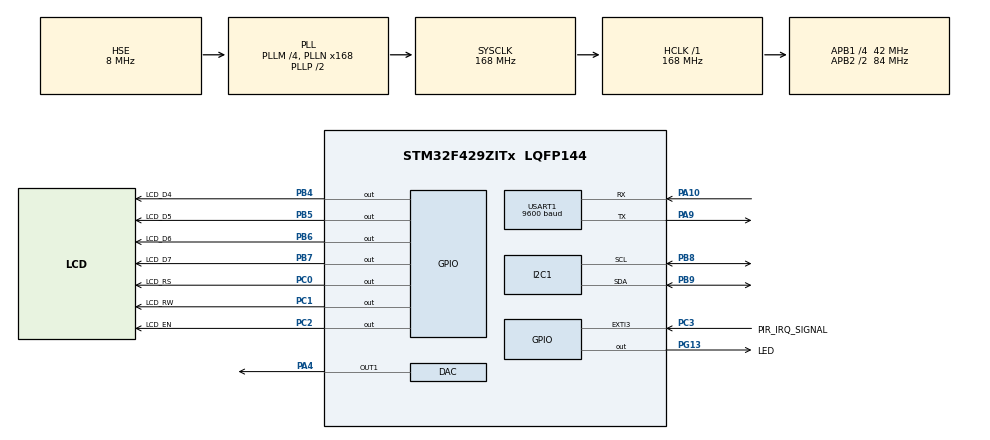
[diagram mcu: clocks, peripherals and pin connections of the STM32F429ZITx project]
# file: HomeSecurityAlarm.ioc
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DAC.DAC_Trigger=DAC_TRIGGER_T2_TRGO
Dma.DAC1.0.Direction=DMA_MEMORY_TO_PERIPH
Dma.DAC1.0.FIFOMode=DMA_FIFOMODE_DISABLE
Dma.DAC1.0.Instance=DMA1_Stream5
Dma.DAC1.0.MemDataAlignment=DMA_MDATAALIGN_HALFWORD
Dma.DAC1.0.MemInc=DMA_MINC_ENABLE
Dma.DAC1.0.Mode=DMA_CIRCULAR
Dma.DAC1.0.PeriphDataAlignment=DMA_PDATAALIGN_HALFWORD
Dma.DAC1.0.PeriphInc=DMA_PINC_DISABLE
Dma.DAC1.0.Priority=DMA_PRIORITY_LOW
Dma.Request0=DAC1
Dma.Request1=USART1_RX
Dma.USART1_RX.1.Direction=DMA_PERIPH_TO_MEMORY
Dma.USART1_RX.1.FIFOMode=DMA_FIFOMODE_DISABLE
Dma.USART1_RX.1.Instance=DMA2_Stream2
Dma.USART1_RX.1.MemDataAlignment=DMA_MDATAALIGN_BYTE
Dma.USART1_RX.1.MemInc=DMA_MINC_ENABLE
Dma.USART1_RX.1.Mode=DMA_CIRCULAR
Dma.USART1_RX.1.PeriphDataAlignment=DMA_PDATAALIGN_BYTE
Dma.USART1_RX.1.PeriphInc=DMA_PINC_DISABLE
Dma.USART1_RX.1.Priority=DMA_PRIORITY_LOW
Mcu.Family=STM32F4
Mcu.Name=STM32F429ZITx
Mcu.Package=LQFP144
NVIC.DMA1_Stream5_IRQn=true\:0\:0\:false\:false\:true\:false\:true\:true
NVIC.DMA2_Stream2_IRQn=true\:0\:0\:false\:false\:true\:false\:true\:true
NVIC.EXTI3_IRQn=true\:0\:0\:false\:false\:true\:true\:true\:true
NVIC.PriorityGroup=NVIC_PRIORITYGROUP_4
NVIC.TIM1_UP_TIM10_IRQn=true\:0\:0\:false\:false\:true\:true\:true\:true
PA10.Mode=Asynchronous
PA10.Signal=USART1_RX
PA13.Mode=Serial_Wire
PA13.Signal=SYS_JTMS-SWDIO
PA14.Mode=Serial_Wire
PA14.Signal=SYS_JTCK-SWCLK
PA4.Signal=COMP_DAC1_group
PA9.Mode=Asynchronous
PA9.Signal=USART1_TX
PB4.GPIO_Label=LCD_D4
PB4.Signal=GPIO_Output
PB5.GPIO_Label=LCD_D5
PB5.Signal=GPIO_Output
PB6.GPIO_Label=LCD_D6
PB6.Signal=GPIO_Output
PB7.GPIO_Label=LCD_D7
PB7.Signal=GPIO_Output
PB8.Mode=I2C
PB8.Signal=I2C1_SCL
PB9.Mode=I2C
PB9.Signal=I2C1_SDA
PC0.GPIO_Label=LCD_RS
PC0.Signal=GPIO_Output
PC1.GPIO_Label=LCD_RW
PC1.Signal=GPIO_Output
PC2.GPIO_Label=LCD_EN
PC2.Signal=GPIO_Output
PC3.GPIO_Label=PIR_IRQ_SIGNAL
PC3.GPIO_ModeDefaultEXTI=GPIO_MODE_IT_RISING
PC3.GPIO_PuPd=GPIO_PULLDOWN
PC3.Signal=GPXTI3
PG13.GPIO_Label=LED
PG13.Signal=GPIO_Output
PH0/OSC_IN.Mode=HSE-External-Oscillator
PH0/OSC_IN.Signal=RCC_OSC_IN
PH1/OSC_OUT.Mode=HSE-External-Oscillator
PH1/OSC_OUT.Signal=RCC_OSC_OUT
ProjectManager.HeapSize=0x200
ProjectManager.StackSize=0x400
ProjectManager.TargetToolchain=MDK-ARM V5.32
RCC.48MHZClocksFreq_Value=84000000
RCC.AHBFreq_Value=168000000
RCC.APB1CLKDivider=RCC_HCLK_DIV4
RCC.APB1Freq_Value=42000000
RCC.APB1TimFreq_Value=84000000
RCC.APB2CLKDivider=RCC_HCLK_DIV2
RCC.APB2Freq_Value=84000000
RCC.APB2TimFreq_Value=168000000
RCC.CortexFreq_Value=168000000
RCC.HCLKFreq_Value=168000000
RCC.HSE_VALUE=8000000
RCC.HSI_VALUE=16000000
RCC.LSE_VALUE=32768
RCC.PLLM=4
RCC.PLLN=168
RCC.PLLSourceVirtual=RCC_PLLSOURCE_HSE
RCC.SYSCLKFreq_VALUE=168000000
RCC.SYSCLKSource=RCC_SYSCLKSOURCE_PLLCLK
RCC.VCOOutputFreq_Value=336000000
SH.COMP_DAC1_group.0=DAC_OUT1,DAC_OUT1
TIM1.Period=1000-1
TIM1.Prescaler=168-1
TIM2.Period=125-1
TIM2.Prescaler=84-1
TIM2.TIM_MasterOutputTrigger=TIM_TRGO_UPDATE
USART1.BaudRate=9600
USART1.VirtualMode=VM_ASYNC
VP_TIM1_VS_ClockSourceINT.Mode=Internal
VP_TIM2_VS_ClockSourceINT.Mode=Internal
board=custom

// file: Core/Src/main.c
/* USER CODE BEGIN Header */
/**
  ******************************************************************************
  * @file           : main.c
  * @brief          : Main program body
  ******************************************************************************
  * @attention
  *
  * Copyright (c) 2024 STMicroelectronics.
  * All rights reserved.
  *
  * This software is licensed under terms that can be found in the LICENSE file
  * in the root directory of this software component.
  * If no LICENSE file comes with this software, it is provided AS-IS.
  *
  ******************************************************************************
  */
/* USER CODE END Header */
#include "main.h"
#include "dac.h"
#include "dma.h"
#include "i2c.h"
#include "tim.h"
#include "usart.h"
#include "gpio.h"

/* USER CODE BEGIN Includes */

#include <stdio.h>

#include "LCD/lcd.h"
#include "DS3231/ds3231.h"
#include "Audio/alarm.h"
#include "DAC/DAC_LIB.h"
#include "RingBuffer/RingBuffer.h"
#include "CheckSum/CheckSum.h"
#include "GSM/gsm.h"
#include "EEPROM/eeprom.h"
#include "MyHalFlash/MyHalFlash.h"

/* USER CODE END Includes */

/* USER CODE BEGIN PTD */

typedef enum
{
	INIT_MENU,
	HOME_MENU
}menu_t;

menu_t menu = INIT_MENU;

/* USER CODE END PTD */

/* USER CODE BEGIN PV */

uint32_t lastTime;
uint16_t cnt_led = 0;

uint8_t FLAG_BLINK_ALARM = 0;
uint8_t cnt_blink_alarm = 0;

/* USER CODE END PV */

void SystemClock_Config(void);
/* USER CODE BEGIN PFP */

void Init_Menu_Func(void);
void Home_Menu_Func(void);

/* USER CODE END PFP */

int main(void)
{

  /* MCU Configuration--------------------------------------------------------*/

  /* Reset of all peripherals, Initializes the Flash interface and the Systick. */
  HAL_Init();

  /* Configure the system clock */
  SystemClock_Config();

  /* Initialize all configured peripherals */
  MX_GPIO_Init();
  MX_DMA_Init();
  MX_DAC_Init();
  MX_USART1_UART_Init();
  MX_I2C1_Init();
  MX_TIM2_Init();
  MX_TIM1_Init();
  /* USER CODE BEGIN 2 */

//	HAL_SuspendTick();
//	HAL_PWR_EnterSLEEPMode(PWR_MAINREGULATOR_ON, PWR_SLEEPENTRY_WFI);
//	HAL_ResumeTick();

//	HAL_SuspendTick();
//	HAL_PWR_EnterSTOPMode(PWR_LOWPOWERREGULATOR_ON, PWR_SLEEPENTRY_WFI);
//	SystemClock_Config();
//	HAL_ResumeTick();

  /* USER CODE END 2 */

  /* Infinite loop */
  /* USER CODE BEGIN WHILE */
  while (1)
  {
		switch(menu)
		{
			case INIT_MENU:
			{
				Init_Menu_Func();
			}break;
			case HOME_MENU:
			{
				Home_Menu_Func();
			}break;
		}

    /* USER CODE END WHILE */

  }
}

void SystemClock_Config(void)
{
  RCC_OscInitTypeDef RCC_OscInitStruct = {0};
  RCC_ClkInitTypeDef RCC_ClkInitStruct = {0};

  /** Configure the main internal regulator output voltage
  */
  __HAL_RCC_PWR_CLK_ENABLE();
  __HAL_PWR_VOLTAGESCALING_CONFIG(PWR_REGULATOR_VOLTAGE_SCALE1);

  /** Initializes the RCC Oscillators according to the specified parameters
  * in the RCC_OscInitTypeDef structure.
  */
  RCC_OscInitStruct.OscillatorType = RCC_OSCILLATORTYPE_HSE;
  RCC_OscInitStruct.HSEState = RCC_HSE_ON;
  RCC_OscInitStruct.PLL.PLLState = RCC_PLL_ON;
  RCC_OscInitStruct.PLL.PLLSource = RCC_PLLSOURCE_HSE;
  RCC_OscInitStruct.PLL.PLLM = 4;
  RCC_OscInitStruct.PLL.PLLN = 168;
  RCC_OscInitStruct.PLL.PLLP = RCC_PLLP_DIV2;
  RCC_OscInitStruct.PLL.PLLQ = 4;
  if (HAL_RCC_OscConfig(&RCC_OscInitStruct) != HAL_OK)
  {
    Error_Handler();
  }

  /** Initializes the CPU, AHB and APB buses clocks
  */
  RCC_ClkInitStruct.ClockType = RCC_CLOCKTYPE_HCLK|RCC_CLOCKTYPE_SYSCLK
                              |RCC_CLOCKTYPE_PCLK1|RCC_CLOCKTYPE_PCLK2;
  RCC_ClkInitStruct.SYSCLKSource = RCC_SYSCLKSOURCE_PLLCLK;
  RCC_ClkInitStruct.AHBCLKDivider = RCC_SYSCLK_DIV1;
  RCC_ClkInitStruct.APB1CLKDivider = RCC_HCLK_DIV4;
  RCC_ClkInitStruct.APB2CLKDivider = RCC_HCLK_DIV2;

  if (HAL_RCC_ClockConfig(&RCC_ClkInitStruct, FLASH_LATENCY_5) != HAL_OK)
  {
    Error_Handler();
  }
}

/* USER CODE BEGIN 4 */

void HAL_TIM_PeriodElapsedCallback(TIM_HandleTypeDef *htim)
{
	if(htim == &htim1) // 1 ms
	{
		if(gsmState == GSM_State_10)
		{
			cnt_send_sms++;
			if(cnt_send_sms >= 4000)  // 4000 * 1ms = 4000 ms = 4s
			{
				cnt_send_sms = 0;
				FLAG_SEND_SMS = 1;
			}
		}

		if(gsmState == GSM_State_11)
		{
			cnt_call_alarm++;
			if(cnt_call_alarm >= 10000)  // 4000 * 1ms = 4000 ms = 4s
			{
				cnt_call_alarm = 0;
				FLAG_CALL_ALARM = 1;
			}
		}

		if(FLAG_ALARM_MENU == 1 || FLAG_ALARM_MENU == 2)
		{
			cnt_blink_alarm++;
			if(cnt_blink_alarm >= 200)  // 200 * 1ms = 200 ms
			{
				cnt_blink_alarm = 0;
				if(FLAG_BLINK_ALARM == 0)
					FLAG_BLINK_ALARM = 1;
				else
					FLAG_BLINK_ALARM = 0;
			}
		}
	}
}

void HAL_GPIO_EXTI_Callback(uint16_t GPIO_Pin)
{
	if(gsmState == GSM_State_8 && FLAG_STATUS_ALARM == 1)
	{
		if(GPIO_Pin == PIR_IRQ_SIGNAL_Pin)
		{
				FLAG_PIR_SENSOR = 1;
				HAL_GPIO_WritePin(LED_GPIO_Port, LED_Pin, GPIO_PIN_SET);
		}
	}
}

void Init_Menu_Func(void)
{
	uint32_t count = 0;

	lcd_init();
	lcd_clear();
	lcd_gotoxy(0, 0);
	lcd_puts("  Diba Digital  ");
	lcd_gotoxy(0, 1);
	lcd_puts(" Security Alarm ");
	HAL_Delay(2000);

	HAL_TIM_Base_Start_IT(&htim1); //timer of system

	RingBuff_Init(&rxBuf);
	HAL_UART_Receive_DMA(&huart1, rxBuf.Buffer, rxBuf.Size);

	Index_Max_Alarm = (uint32_t)(alarm_LEN / 65535);

	MyHalFlash_Init();

	// unlock FLASH for Write
	do{
		if(EE_Init() == HAL_OK)
			break;
		count++;
	}while(count < 5);

	EE_ReadVariable(0, (uint16_t*) &FLAG_STATUS_ALARM);
	EE_ReadVariable(1, (uint16_t*) &FLAG_ALARM_MENU);
	EE_ReadVariable(2, (uint16_t*) &HourAlarm);
	EE_ReadVariable(3, (uint16_t*) &MinAlarm);
	EE_ReadVariable(4, (uint16_t*) &SecAlarm);

//	DS3231_SetTime(50, 04, 15, 1, 7, 4, 24);
	lcd_clear();
	menu = HOME_MENU;
	lcd_gotoxy(0, 0);
	lcd_puts("Please clse door");
}

void Home_Menu_Func(void)
{
	uint32_t nowTime, Time;
	char str[20];

	nowTime = HAL_GetTick();
	if(nowTime >= lastTime)
		Time = nowTime - lastTime;
	else
		Time = (UINT32_MAX - lastTime) + nowTime;

	if(Time >= 100) //100ms
	{
		lastTime = nowTime;
		GSM_CheckBytes();
	}

	GSM_CheckState();

	if(FLAG_ALARM_MENU == 0)
	{
		if(FLAG_STATUS_ALARM == 0)
		{
			lcd_gotoxy(0, 0);
			lcd_puts("Please clse door");
		}
		else
		{
			lcd_gotoxy(0, 0);
			lcd_puts("Please open door");
		}
		DS3231_GetTime();
		lcd_gotoxy(0, 1);
		sprintf(str, "Clock: %02d:%02d:%02d", dsTime.Hour, dsTime.Minute, dsTime.Second);
		lcd_puts(str);
	}
	else if(FLAG_ALARM_MENU == 1)
	{
		lcd_clear();
		lcd_gotoxy(0, 0);
		lcd_puts("      Alarm     ");
		lcd_gotoxy(0, 1);
		sprintf(str, ">>>>%02d:%02d:%02d<<<<", HourAlarm, MinAlarm, SecAlarm);
		lcd_puts(str);

		// Alarm DAC
		HAL_DAC_Start_DMA(&hdac, DAC_CHANNEL_1, (uint32_t *)&alarm[idx_music*65536], 65535, DAC_ALIGN_12B_R);
		HAL_TIM_Base_Start(&htim2);
		//	HAL_DAC_Stop_DMA(&hdac, DAC_CHANNEL_1);

		FLAG_ALARM_MENU = 2;
	}
	else
	{
		if(FLAG_BLINK_ALARM == 1)
		{
			lcd_gotoxy(0, 0);
			lcd_puts("      Alarm     ");
		}
		else
		{
			lcd_gotoxy(0, 0);
			lcd_puts("                ");
		}
	}
}

/* USER CODE END 4 */

void Error_Handler(void)
{
  __disable_irq();
  while (1)
  {
  }
}
